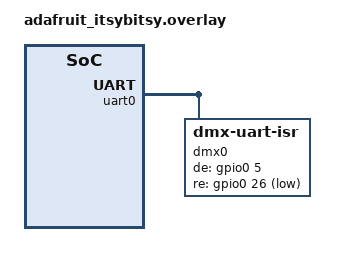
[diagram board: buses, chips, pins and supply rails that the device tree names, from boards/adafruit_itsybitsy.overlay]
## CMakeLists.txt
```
# SPDX-License-Identifier: Apache-2.0

cmake_minimum_required(VERSION 3.20.0)

find_package(Zephyr REQUIRED HINTS $ENV{ZEPHYR_BASE})
project(dmx-input)

target_sources(app PRIVATE src/main.c)
```

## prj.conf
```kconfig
CONFIG_LOG=y
CONFIG_SERIAL=y
CONFIG_UART_INTERRUPT_DRIVEN=y
CONFIG_GPIO=y
CONFIG_SPSC_PBUF=y

CONFIG_DMX=y
CONFIG_MAIN_STACK_SIZE=4096
CONFIG_LOG_BUFFER_SIZE=8192
```

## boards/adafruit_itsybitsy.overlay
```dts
/*
 * SPDX-FileCopyrightText: Copyright (c) 2026 Perry Naseck, MIT Media Lab <pnaseck@media.mit.edu>
 * SPDX-License-Identifier: Apache-2.0
 *
 * Adafruit ItsyBitsy nRF52840 Express
 *
 * UART0: TX = D1 (P0.24), RX = D0 (P0.25)
 * DE = D10 (P0.05), RE = D11 (P0.26)
 */

#include <zephyr/dt-bindings/dmx/dmx.h>
#include <zephyr/dt-bindings/gpio/gpio.h>

&uart0 {
	status = "okay";
	current-speed = <DMX_BAUD_RATE>;

	dmx0: dmx {
		compatible = "zephyr,dmx-uart-isr";
		de-gpios = <&gpio0 5 GPIO_ACTIVE_HIGH>; /* D10 */
		re-gpios = <&gpio0 26 GPIO_ACTIVE_LOW>; /* D11 */
	};
};
```

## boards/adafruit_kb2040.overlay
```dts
/*
 * SPDX-FileCopyrightText: Copyright (c) 2026 Perry Naseck, MIT Media Lab <pnaseck@media.mit.edu>
 * SPDX-License-Identifier: Apache-2.0
 *
 * Adafruit KB2040 (Pro Micro RP2040)
 *
 * UART1: TX = D4 (GP4), RX = D5 (GP5)
 * DE = D6 (GP6), RE = D7 (GP7)
 */

#include <zephyr/dt-bindings/dmx/dmx.h>
#include <zephyr/dt-bindings/gpio/gpio.h>
#include <zephyr/dt-bindings/pinctrl/rpi-pico-rp2040-pinctrl.h>

&pinctrl {
	uart1_dmx: uart1_dmx {
		group1 {
			pinmux = <UART1_TX_P4>;
		};

		group2 {
			pinmux = <UART1_RX_P5>;
			input-enable;
		};
	};
};

&uart1 {
	status = "okay";
	current-speed = <DMX_BAUD_RATE>;
	pinctrl-0 = <&uart1_dmx>;
	pinctrl-names = "default";

	dmx0: dmx {
		compatible = "zephyr,dmx-uart-isr";
		/* Pro Micro D6 = GP6 */
		de-gpios = <&gpio0 6 GPIO_ACTIVE_HIGH>;
		/* Pro Micro D7 = GP7 */
		re-gpios = <&gpio0 7 GPIO_ACTIVE_LOW>;
	};
};
```

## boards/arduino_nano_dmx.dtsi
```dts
/*
 * SPDX-FileCopyrightText: Copyright (c) 2026 Perry Naseck, MIT Media Lab <pnaseck@media.mit.edu>
 * SPDX-License-Identifier: Apache-2.0
 *
 * Generic overlay for Arduino Nano-format boards.
 *
 * Uses the arduino_serial UART (header pins D0/D1) for DMX,
 * with DE on D5 and RE on D6.
 */

#include <zephyr/dt-bindings/dmx/dmx.h>
#include <zephyr/dt-bindings/gpio/gpio.h>
#include <zephyr/dt-bindings/gpio/arduino-nano-header.h>

&arduino_serial {
	status = "okay";
	current-speed = <DMX_BAUD_RATE>;

	dmx0: dmx {
		compatible = "zephyr,dmx-uart-isr";
		de-gpios = <&arduino_header ARDUINO_NANO_HEADER_D5 GPIO_ACTIVE_HIGH>;
		re-gpios = <&arduino_header ARDUINO_NANO_HEADER_D6 GPIO_ACTIVE_LOW>;
	};
};
```

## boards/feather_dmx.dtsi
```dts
/*
 * SPDX-FileCopyrightText: Copyright (c) 2026 Perry Naseck, MIT Media Lab <pnaseck@media.mit.edu>
 * SPDX-License-Identifier: Apache-2.0
 *
 * Generic overlay for Feather-format boards.
 *
 * Uses the feather_serial UART (header pins TX/RX) for DMX,
 * with DE on D5 (feather_header index 14) and RE on D6
 * (feather_header index 15).
 */

#include <zephyr/dt-bindings/dmx/dmx.h>
#include <zephyr/dt-bindings/gpio/gpio.h>

&feather_serial {
	status = "okay";
	current-speed = <DMX_BAUD_RATE>;

	dmx0: dmx {
		compatible = "zephyr,dmx-uart-isr";
		de-gpios = <&feather_header 14 GPIO_ACTIVE_HIGH>; /* D5 */
		re-gpios = <&feather_header 15 GPIO_ACTIVE_LOW>; /* D6 */
	};
};
```

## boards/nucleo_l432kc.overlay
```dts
/*
 * SPDX-FileCopyrightText: Copyright (c) 2026 Perry Naseck, MIT Media Lab <pnaseck@media.mit.edu>
 * SPDX-License-Identifier: Apache-2.0
 *
 * Nucleo L432KC - uses Arduino Nano connector.
 */
#include "arduino_nano_dmx.dtsi"
```

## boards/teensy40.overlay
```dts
/*
 * SPDX-FileCopyrightText: Copyright (c) 2026 Perry Naseck, MIT Media Lab <pnaseck@media.mit.edu>
 * SPDX-License-Identifier: Apache-2.0
 *
 * PJRC Teensy 4.0
 *
 * LPUART2: TX = pin 14 (AD_B1_02), RX = pin 15 (AD_B1_03)
 * DE = pin 16 (AD_B1_07), RE = pin 17 (AD_B1_06)
 */

#include <zephyr/dt-bindings/dmx/dmx.h>
#include <zephyr/dt-bindings/gpio/gpio.h>

&lpuart2 {
	status = "okay";
	current-speed = <DMX_BAUD_RATE>;

	dmx0: dmx {
		compatible = "zephyr,dmx-uart-isr";
		/* Pin 16 = GPIO1_IO23 (AD_B1_07) */
		de-gpios = <&gpio1 23 GPIO_ACTIVE_HIGH>;
		/* Pin 17 = GPIO1_IO22 (AD_B1_06) */
		re-gpios = <&gpio1 22 GPIO_ACTIVE_LOW>;
	};
};
```

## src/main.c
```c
/*
 * SPDX-FileCopyrightText: Copyright (c) 2026 Perry Naseck, MIT Media Lab <pnaseck@media.mit.edu>
 * SPDX-License-Identifier: Apache-2.0
 */

/**
 * @file
 * @brief DMX512-A input sample.
 *
 * Receives DMX frames on a DMX interface and dispatches by start code.
 * Handles NULL SC (dimmer data), test (0x55), ASCII text (0x17), UTF-8 text (0x90), manufacturer
 * (0x91), and SIP (0xCF) packets. Unknown start codes are logged with a raw hex dump.
 */

#include <string.h>

#include <zephyr/kernel.h>
#include <zephyr/device.h>
#include <zephyr/drivers/gpio.h>
#include <zephyr/dmx/dmx.h>

#include <zephyr/logging/log.h>
LOG_MODULE_REGISTER(dmx_sample, LOG_LEVEL_INF);

static const struct device *const dmx_dev = DEVICE_DT_GET(DT_NODELABEL(dmx0));

#if DT_NODE_EXISTS(DT_ALIAS(led0))
static const struct gpio_dt_spec led = GPIO_DT_SPEC_GET(DT_ALIAS(led0), gpios);
#endif

static uint8_t prev_null_data[DMX_MAX_SLOTS];
static uint16_t prev_null_slot_count;

static void handle_null_packet(const struct dmx_null_packet *pkt)
{
	bool changed = (pkt->slot_count != prev_null_slot_count) ||
		       memcmp(pkt->data, prev_null_data, pkt->slot_count) != 0;

	LOG_INF("NULL SC @ %u ms, slots 1-%u%s",
		pkt->hdr.timestamp,
		pkt->slot_count,
		changed ? " [changed]" : "");

	if (changed) {
		LOG_HEXDUMP_INF(pkt->data, pkt->slot_count, "slot data");
		memcpy(prev_null_data, pkt->data, pkt->slot_count);
		prev_null_slot_count = pkt->slot_count;
	}
}

static void handle_test_packet(const struct dmx_test_packet *pkt)
{
	if (pkt->pass) {
		LOG_INF("Test packet @ %u ms: PASS", pkt->hdr.timestamp);
	} else if (pkt->slot_count != DMX_MAX_SLOTS) {
		LOG_WRN("Test packet @ %u ms: FAIL (incomplete, %u/%u slots)",
			pkt->hdr.timestamp, pkt->slot_count, DMX_MAX_SLOTS);
	} else {
		LOG_WRN("Test packet @ %u ms: FAIL (%d/%u slot errors)",
			pkt->hdr.timestamp, pkt->slot_errors, pkt->slot_count);
	}
}

static void print_dmx_text(const uint8_t *text, uint16_t len, uint8_t chars_per_line)
{
	if (len == 0) {
		return;
	}

	/* Find null terminator — text may be shorter than len. */
	uint16_t text_len = 0;

	while (text_len < len && text[text_len] != '\0') {
		text_len++;
	}

	if (chars_per_line == 0 || chars_per_line >= text_len) {
		/* No line wrapping. */
		LOG_INF("  %.*s", text_len, text);
		return;
	}

	for (uint16_t pos = 0; pos < text_len; pos += chars_per_line) {
		uint16_t remaining = text_len - pos;
		uint16_t line_len = MIN(remaining, chars_per_line);

		LOG_INF("  %.*s", line_len, &text[pos]);
	}
}

static void handle_text_packet(const struct dmx_text_packet *pkt)
{
	uint16_t text_slots = (pkt->slot_count >= DMX_TEXT_MIN_SLOTS)
		? (pkt->slot_count - (DMX_TEXT_MIN_SLOTS - 1)) : 0;

	LOG_INF("ASCII text @ %u ms: page=%u, chars/line=%u, %u slots",
		pkt->hdr.timestamp, pkt->page, pkt->chars_per_line, pkt->slot_count);
	print_dmx_text(pkt->text, text_slots, pkt->chars_per_line);
}

static void handle_utf8_packet(const struct dmx_utf8_packet *pkt)
{
	uint16_t text_slots = (pkt->slot_count >= DMX_TEXT_MIN_SLOTS)
		? (pkt->slot_count - (DMX_TEXT_MIN_SLOTS - 1)) : 0;

	LOG_INF("UTF-8 text @ %u ms: page=%u, chars/line=%u, %u slots",
		pkt->hdr.timestamp, pkt->page, pkt->chars_per_line, pkt->slot_count);
	print_dmx_text(pkt->text, text_slots, pkt->chars_per_line);
}

static void handle_manufacturer_packet(const struct dmx_manufacturer_packet *pkt)
{
	uint16_t data_len = (pkt->slot_count > DMX_MANUFACTURER_MIN_SLOTS)
		? (pkt->slot_count - DMX_MANUFACTURER_MIN_SLOTS) : 0;

	LOG_INF("Manufacturer packet @ %u ms: ID=0x%04x, %u data bytes",
		pkt->hdr.timestamp, pkt->manufacturer_id, data_len);
	if (data_len > 0) {
		LOG_HEXDUMP_INF(pkt->data, data_len, "manufacturer data");
	}
}

static void handle_sip_packet(const struct dmx_sip_packet *pkt)
{
	LOG_INF("SIP @ %u ms: checksum %s",
		pkt->hdr.timestamp,
		pkt->checksum_valid ? "OK" : "FAIL");
	LOG_INF("  seq=%u, universe=%u, processing_level=%u, sw_version=%u",
		pkt->sequence, pkt->universe, pkt->processing_level, pkt->sw_version);
	LOG_INF("  sip_length=%u, control=0x%02x, prev_checksum=0x%04x",
		pkt->sip_length, pkt->control, pkt->prev_checksum);
	LOG_INF("  std_pkt_len=%u, num_packets=%u",
		pkt->std_packet_len, pkt->num_packets);
	LOG_INF("  mfr_ids: 0x%04x 0x%04x 0x%04x 0x%04x 0x%04x",
		pkt->manufacturer_ids[0], pkt->manufacturer_ids[1],
		pkt->manufacturer_ids[2], pkt->manufacturer_ids[3],
		pkt->manufacturer_ids[4]);
}

static void handle_raw_packet(const struct dmx_raw_packet *pkt)
{
	LOG_INF("Unknown SC=0x%02x @ %u ms, %u slots",
		pkt->hdr.start_code, pkt->hdr.timestamp, pkt->slot_count);
	LOG_HEXDUMP_DBG(pkt->data, pkt->slot_count, "raw data");
}

int main(void)
{
	int ret;
	const struct dmx_rx_header *hdr;
	struct dmx_filter filter = {
		.sc_null = true,
		.sc_text = true,
		.sc_test = true,
		.sc_utf8 = true,
		.sc_manufacturer = true,
		.sc_sip = true,
		.sc_other = true,
	};

	if (!device_is_ready(dmx_dev)) {
		LOG_ERR("DMX device not ready");
		return -ENODEV;
	}

#if DT_NODE_EXISTS(DT_ALIAS(led0))
	if (gpio_is_ready_dt(&led)) {
		gpio_pin_configure_dt(&led, GPIO_OUTPUT_INACTIVE);
	}
#endif

	ret = dmx_set_mode(dmx_dev, DMX_MODE_INPUT);
	if (ret != 0) {
		LOG_ERR("dmx_set_mode failed: %d", ret);
		return ret;
	}

	ret = dmx_set_filter(dmx_dev, &filter);
	if (ret != 0) {
		LOG_ERR("dmx_set_filter failed: %d", ret);
		return ret;
	}

	ret = dmx_enable(dmx_dev);
	if (ret != 0) {
		LOG_ERR("dmx_enable failed: %d", ret);
		return ret;
	}

	LOG_INF("DMX input started, capturing full universe");

	while (true) {
		/* 100ms timeout so the LED turns off promptly when no packets are
		 * received. Use K_FOREVER if the LED indicator is not needed.
		 */
		ret = dmx_rx_claim(dmx_dev, &hdr, K_MSEC(100));
		if (ret == -EAGAIN) {
#if DT_NODE_EXISTS(DT_ALIAS(led0))
			if (gpio_is_ready_dt(&led)) {
				gpio_pin_set_dt(&led, 0);
			}
#endif
			continue;
		}
		if (ret != 0) {
			LOG_ERR("dmx_rx_claim error: %d", ret);
			break;
		}

		switch (hdr->start_code) {
		case DMX_SC_NULL:
			handle_null_packet((const struct dmx_null_packet *)hdr);
			break;
		case DMX_SC_TEST:
			handle_test_packet((const struct dmx_test_packet *)hdr);
			break;
		case DMX_SC_TEXT:
			handle_text_packet((const struct dmx_text_packet *)hdr);
			break;
		case DMX_SC_UTF8:
			handle_utf8_packet((const struct dmx_utf8_packet *)hdr);
			break;
		case DMX_SC_MANUFACTURER:
			handle_manufacturer_packet((const struct dmx_manufacturer_packet *)hdr);
			break;
		case DMX_SC_SIP:
			handle_sip_packet((const struct dmx_sip_packet *)hdr);
			break;
		default:
			handle_raw_packet((const struct dmx_raw_packet *)hdr);
			break;
		}

#if DT_NODE_EXISTS(DT_ALIAS(led0))
		if (gpio_is_ready_dt(&led)) {
			gpio_pin_toggle_dt(&led);
		}
#endif
		dmx_rx_free(dmx_dev, hdr);
	}

	return 0;
}
```
